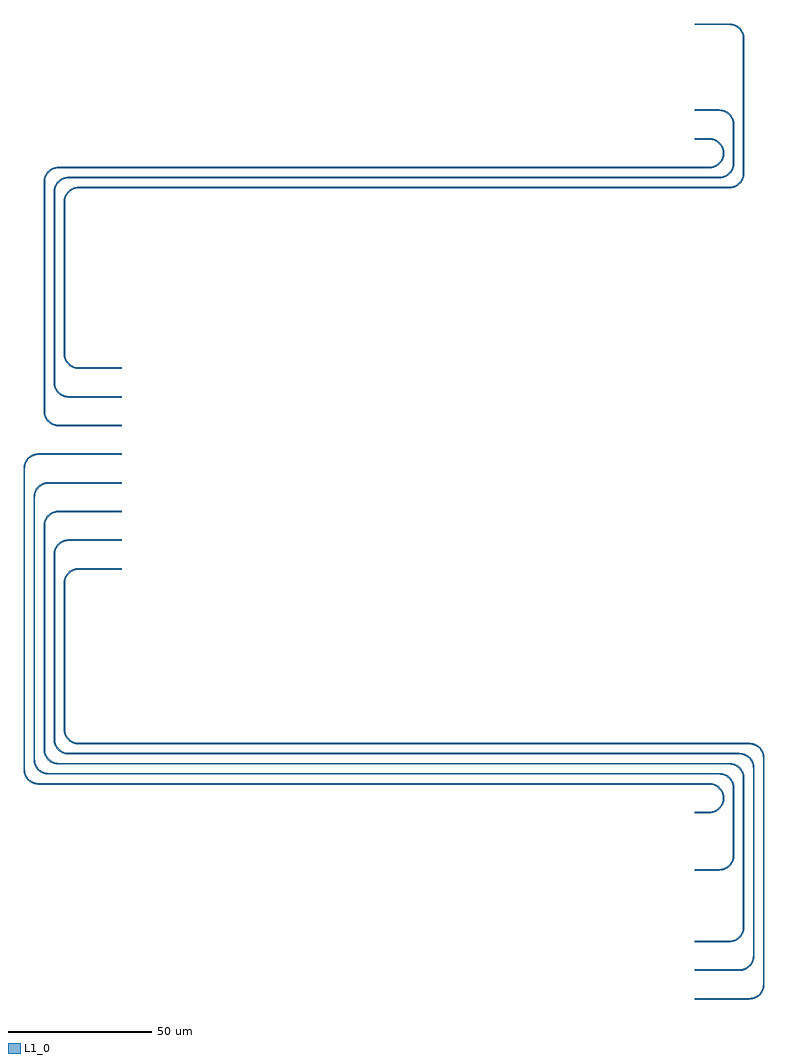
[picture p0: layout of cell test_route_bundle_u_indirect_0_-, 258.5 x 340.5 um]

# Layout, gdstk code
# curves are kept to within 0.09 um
from math import pi, radians
import gdstk
lib = gdstk.Library(unit=1e-6, precision=1e-09)
def R(c, l, rs):  # rectangles x0, y0, x1, y1
    for r in rs: c.add(gdstk.rectangle(r[:2], r[2:], *l))
def P(c, l, *ps):  # polygons
    for p in ps: c.add(gdstk.Polygon(p, *l))
L1_0 = (1, 0)

bend_circular_r5_a90_nn_ = lib.new_cell('bend_circular_R5_A90_NN_fe63dc3e')
P(bend_circular_r5_a90_nn_, L1_0, [(0,-0.25),(0,0.25),(0.988,0.354),(1.932,0.661),(2.587,1.016),(3.359,1.641),(3.984,2.413),(4.339,3.068),(4.646,4.012),(4.75,5),(5.25,5),(5.135,3.908),(4.796,2.865),(4.247,1.914),(3.712,1.288),(3.086,0.753),(2.135,0.204),(1.092,-0.135)])

straight_l19_n2_csstrip_ = lib.new_cell('straight_L19_N2_CSstrip_W0p5')
R(straight_l19_n2_csstrip_, L1_0, [(0,-0.25,19,0.25)])

straight_l79_n2_csstrip_ = lib.new_cell('straight_L79_N2_CSstrip_W0p5')
R(straight_l79_n2_csstrip_, L1_0, [(0,-0.25,79,0.25)])

straight_l234_n2_csstrip = lib.new_cell('straight_L234_N2_CSstrip_W0p5')
R(straight_l234_n2_csstrip, L1_0, [(0,-0.25,234,0.25)])

straight_l51_n2_csstrip_ = lib.new_cell('straight_L51_N2_CSstrip_W0p5')
R(straight_l51_n2_csstrip_, L1_0, [(0,-0.25,51,0.25)])

straight_l15_n2_csstrip_ = lib.new_cell('straight_L15_N2_CSstrip_W0p5')
R(straight_l15_n2_csstrip_, L1_0, [(0,-0.25,15,0.25)])

straight_l15p5_n2_csstri = lib.new_cell('straight_L15p5_N2_CSstrip_W0p5')
R(straight_l15p5_n2_csstri, L1_0, [(0,-0.25,15.5,0.25)])

straight_l65p5_n2_csstri = lib.new_cell('straight_L65p5_N2_CSstrip_W0p5')
R(straight_l65p5_n2_csstri, L1_0, [(0,-0.25,65.5,0.25)])

straight_l64p5_n2_csstri = lib.new_cell('straight_L64p5_N2_CSstrip_W0p5')
R(straight_l64p5_n2_csstri, L1_0, [(0,-0.25,64.5,0.25)])

straight_l18p5_n2_csstri = lib.new_cell('straight_L18p5_N2_CSstrip_W0p5')
R(straight_l18p5_n2_csstri, L1_0, [(0,-0.25,18.5,0.25)])

straight_l12_n2_csstrip_ = lib.new_cell('straight_L12_N2_CSstrip_W0p5')
R(straight_l12_n2_csstrip_, L1_0, [(0,-0.25,12,0.25)])

straight_l52_n2_csstrip_ = lib.new_cell('straight_L52_N2_CSstrip_W0p5')
R(straight_l52_n2_csstrip_, L1_0, [(0,-0.25,52,0.25)])

straight_l78_n2_csstrip_ = lib.new_cell('straight_L78_N2_CSstrip_W0p5')
R(straight_l78_n2_csstrip_, L1_0, [(0,-0.25,78,0.25)])

straight_l22_n2_csstrip_ = lib.new_cell('straight_L22_N2_CSstrip_W0p5')
R(straight_l22_n2_csstrip_, L1_0, [(0,-0.25,22,0.25)])

straight_l8p5_n2_csstrip = lib.new_cell('straight_L8p5_N2_CSstrip_W0p5')
R(straight_l8p5_n2_csstrip, L1_0, [(0,-0.25,8.5,0.25)])

straight_l23p5_n2_csstri = lib.new_cell('straight_L23p5_N2_CSstrip_W0p5')
R(straight_l23p5_n2_csstri, L1_0, [(0,-0.25,23.5,0.25)])

straight_l91p5_n2_csstri = lib.new_cell('straight_L91p5_N2_CSstrip_W0p5')
R(straight_l91p5_n2_csstri, L1_0, [(0,-0.25,91.5,0.25)])

straight_l25p5_n2_csstri = lib.new_cell('straight_L25p5_N2_CSstrip_W0p5')
R(straight_l25p5_n2_csstri, L1_0, [(0,-0.25,25.5,0.25)])

straight_l5_n2_csstrip_w = lib.new_cell('straight_L5_N2_CSstrip_W0p5')
R(straight_l5_n2_csstrip_w, L1_0, [(0,-0.25,5,0.25)])

straight_l105_n2_csstrip = lib.new_cell('straight_L105_N2_CSstrip_W0p5')
R(straight_l105_n2_csstrip, L1_0, [(0,-0.25,105,0.25)])

straight_l29_n2_csstrip_ = lib.new_cell('straight_L29_N2_CSstrip_W0p5')
R(straight_l29_n2_csstrip_, L1_0, [(0,-0.25,29,0.25)])

straight_l227_n2_csstrip = lib.new_cell('straight_L227_N2_CSstrip_W0p5')
R(straight_l227_n2_csstrip, L1_0, [(0,-0.25,227,0.25)])

straight_l80_n2_csstrip_ = lib.new_cell('straight_L80_N2_CSstrip_W0p5')
R(straight_l80_n2_csstrip_, L1_0, [(0,-0.25,80,0.25)])

straight_l13p5_n2_csstri = lib.new_cell('straight_L13p5_N2_CSstrip_W0p5')
R(straight_l13p5_n2_csstri, L1_0, [(0,-0.25,13.5,0.25)])

straight_l66p5_n2_csstri = lib.new_cell('straight_L66p5_N2_CSstrip_W0p5')
R(straight_l66p5_n2_csstri, L1_0, [(0,-0.25,66.5,0.25)])

straight_l47_n2_csstrip_ = lib.new_cell('straight_L47_N2_CSstrip_W0p5')
R(straight_l47_n2_csstrip_, L1_0, [(0,-0.25,47,0.25)])

straight_l53_n2_csstrip_ = lib.new_cell('straight_L53_N2_CSstrip_W0p5')
R(straight_l53_n2_csstrip_, L1_0, [(0,-0.25,53,0.25)])

test_route_bundle_u_indi = lib.new_cell('test_route_bundle_u_indirect_0_-')
test_route_bundle_u_indi.add(gdstk.Reference(bend_circular_r5_a90_nn_, (24,-95), rotation=3*pi/2, x_reflection=True))
test_route_bundle_u_indi.add(gdstk.Reference(straight_l19_n2_csstrip_, (19,-100), rotation=pi, x_reflection=True))
test_route_bundle_u_indi.add(gdstk.Reference(bend_circular_r5_a90_nn_, (19,-11), x_reflection=True))
test_route_bundle_u_indi.add(gdstk.Reference(straight_l79_n2_csstrip_, (24,-16), rotation=3*pi/2, x_reflection=True))
test_route_bundle_u_indi.add(gdstk.Reference(bend_circular_r5_a90_nn_, (-220,-6), rotation=3*pi/2))
test_route_bundle_u_indi.add(gdstk.Reference(straight_l234_n2_csstrip, (-215,-11)))
test_route_bundle_u_indi.add(gdstk.Reference(bend_circular_r5_a90_nn_, (-215,50), rotation=pi))
test_route_bundle_u_indi.add(gdstk.Reference(straight_l51_n2_csstrip_, (-220,45), rotation=3*pi/2))
test_route_bundle_u_indi.add(gdstk.Reference(straight_l15_n2_csstrip_, (-215,50)))
test_route_bundle_u_indi.add(gdstk.Reference(bend_circular_r5_a90_nn_, (20.5,-85), rotation=3*pi/2, x_reflection=True))
test_route_bundle_u_indi.add(gdstk.Reference(straight_l15p5_n2_csstri, (15.5,-90), rotation=pi, x_reflection=True))
test_route_bundle_u_indi.add(gdstk.Reference(bend_circular_r5_a90_nn_, (15.5,-14.5), x_reflection=True))
test_route_bundle_u_indi.add(gdstk.Reference(straight_l65p5_n2_csstri, (20.5,-19.5), rotation=3*pi/2, x_reflection=True))
test_route_bundle_u_indi.add(gdstk.Reference(bend_circular_r5_a90_nn_, (-223.5,-9.5), rotation=3*pi/2))
test_route_bundle_u_indi.add(gdstk.Reference(straight_l234_n2_csstrip, (-218.5,-14.5)))
test_route_bundle_u_indi.add(gdstk.Reference(bend_circular_r5_a90_nn_, (-218.5,60), rotation=pi))
test_route_bundle_u_indi.add(gdstk.Reference(straight_l64p5_n2_csstri, (-223.5,55), rotation=3*pi/2))
test_route_bundle_u_indi.add(gdstk.Reference(straight_l18p5_n2_csstri, (-218.5,60)))
test_route_bundle_u_indi.add(gdstk.Reference(bend_circular_r5_a90_nn_, (17,-75), rotation=3*pi/2, x_reflection=True))
test_route_bundle_u_indi.add(gdstk.Reference(straight_l12_n2_csstrip_, (12,-80), rotation=pi, x_reflection=True))
test_route_bundle_u_indi.add(gdstk.Reference(bend_circular_r5_a90_nn_, (12,-18), x_reflection=True))
test_route_bundle_u_indi.add(gdstk.Reference(straight_l52_n2_csstrip_, (17,-23), rotation=3*pi/2, x_reflection=True))
test_route_bundle_u_indi.add(gdstk.Reference(bend_circular_r5_a90_nn_, (-227,-13), rotation=3*pi/2))
test_route_bundle_u_indi.add(gdstk.Reference(straight_l234_n2_csstrip, (-222,-18)))
test_route_bundle_u_indi.add(gdstk.Reference(bend_circular_r5_a90_nn_, (-222,70), rotation=pi))
test_route_bundle_u_indi.add(gdstk.Reference(straight_l78_n2_csstrip_, (-227,65), rotation=3*pi/2))
test_route_bundle_u_indi.add(gdstk.Reference(straight_l22_n2_csstrip_, (-222,70)))
test_route_bundle_u_indi.add(gdstk.Reference(bend_circular_r5_a90_nn_, (13.5,-50), rotation=3*pi/2, x_reflection=True))
test_route_bundle_u_indi.add(gdstk.Reference(straight_l8p5_n2_csstrip, (8.5,-55), rotation=pi, x_reflection=True))
test_route_bundle_u_indi.add(gdstk.Reference(bend_circular_r5_a90_nn_, (8.5,-21.5), x_reflection=True))
test_route_bundle_u_indi.add(gdstk.Reference(straight_l23p5_n2_csstri, (13.5,-26.5), rotation=3*pi/2, x_reflection=True))
test_route_bundle_u_indi.add(gdstk.Reference(bend_circular_r5_a90_nn_, (-230.5,-16.5), rotation=3*pi/2))
test_route_bundle_u_indi.add(gdstk.Reference(straight_l234_n2_csstrip, (-225.5,-21.5)))
test_route_bundle_u_indi.add(gdstk.Reference(bend_circular_r5_a90_nn_, (-225.5,80), rotation=pi))
test_route_bundle_u_indi.add(gdstk.Reference(straight_l91p5_n2_csstri, (-230.5,75), rotation=3*pi/2))
test_route_bundle_u_indi.add(gdstk.Reference(straight_l25p5_n2_csstri, (-225.5,80)))
test_route_bundle_u_indi.add(gdstk.Reference(bend_circular_r5_a90_nn_, (10,-30), rotation=3*pi/2, x_reflection=True))
test_route_bundle_u_indi.add(gdstk.Reference(straight_l5_n2_csstrip_w, (5,-35), rotation=pi, x_reflection=True))
test_route_bundle_u_indi.add(gdstk.Reference(bend_circular_r5_a90_nn_, (5,-25), x_reflection=True))
test_route_bundle_u_indi.add(gdstk.Reference(bend_circular_r5_a90_nn_, (-234,-20), rotation=3*pi/2))
test_route_bundle_u_indi.add(gdstk.Reference(straight_l234_n2_csstrip, (-229,-25)))
test_route_bundle_u_indi.add(gdstk.Reference(bend_circular_r5_a90_nn_, (-229,90), rotation=pi))
test_route_bundle_u_indi.add(gdstk.Reference(straight_l105_n2_csstrip, (-234,85), rotation=3*pi/2))
test_route_bundle_u_indi.add(gdstk.Reference(straight_l29_n2_csstrip_, (-229,90)))
test_route_bundle_u_indi.add(gdstk.Reference(bend_circular_r5_a90_nn_, (10,195), rotation=pi/2))
test_route_bundle_u_indi.add(gdstk.Reference(straight_l5_n2_csstrip_w, (5,200), rotation=pi))
test_route_bundle_u_indi.add(gdstk.Reference(bend_circular_r5_a90_nn_, (5,190)))
test_route_bundle_u_indi.add(gdstk.Reference(bend_circular_r5_a90_nn_, (-227,185), rotation=pi/2, x_reflection=True))
test_route_bundle_u_indi.add(gdstk.Reference(straight_l227_n2_csstrip, (-222,190), x_reflection=True))
test_route_bundle_u_indi.add(gdstk.Reference(bend_circular_r5_a90_nn_, (-222,100), rotation=pi, x_reflection=True))
test_route_bundle_u_indi.add(gdstk.Reference(straight_l80_n2_csstrip_, (-227,105), rotation=pi/2, x_reflection=True))
test_route_bundle_u_indi.add(gdstk.Reference(straight_l22_n2_csstrip_, (-222,100), x_reflection=True))
test_route_bundle_u_indi.add(gdstk.Reference(bend_circular_r5_a90_nn_, (13.5,205), rotation=pi/2))
test_route_bundle_u_indi.add(gdstk.Reference(straight_l8p5_n2_csstrip, (8.5,210), rotation=pi))
test_route_bundle_u_indi.add(gdstk.Reference(bend_circular_r5_a90_nn_, (8.5,186.5)))
test_route_bundle_u_indi.add(gdstk.Reference(straight_l13p5_n2_csstri, (13.5,191.5), rotation=pi/2))
test_route_bundle_u_indi.add(gdstk.Reference(bend_circular_r5_a90_nn_, (-223.5,181.5), rotation=pi/2, x_reflection=True))
test_route_bundle_u_indi.add(gdstk.Reference(straight_l227_n2_csstrip, (-218.5,186.5), x_reflection=True))
test_route_bundle_u_indi.add(gdstk.Reference(bend_circular_r5_a90_nn_, (-218.5,110), rotation=pi, x_reflection=True))
test_route_bundle_u_indi.add(gdstk.Reference(straight_l66p5_n2_csstri, (-223.5,115), rotation=pi/2, x_reflection=True))
test_route_bundle_u_indi.add(gdstk.Reference(straight_l18p5_n2_csstri, (-218.5,110), x_reflection=True))
test_route_bundle_u_indi.add(gdstk.Reference(bend_circular_r5_a90_nn_, (17,235), rotation=pi/2))
test_route_bundle_u_indi.add(gdstk.Reference(straight_l12_n2_csstrip_, (12,240), rotation=pi))
test_route_bundle_u_indi.add(gdstk.Reference(bend_circular_r5_a90_nn_, (12,183)))
test_route_bundle_u_indi.add(gdstk.Reference(straight_l47_n2_csstrip_, (17,188), rotation=pi/2))
test_route_bundle_u_indi.add(gdstk.Reference(bend_circular_r5_a90_nn_, (-220,178), rotation=pi/2, x_reflection=True))
test_route_bundle_u_indi.add(gdstk.Reference(straight_l227_n2_csstrip, (-215,183), x_reflection=True))
test_route_bundle_u_indi.add(gdstk.Reference(bend_circular_r5_a90_nn_, (-215,120), rotation=pi, x_reflection=True))
test_route_bundle_u_indi.add(gdstk.Reference(straight_l53_n2_csstrip_, (-220,125), rotation=pi/2, x_reflection=True))
test_route_bundle_u_indi.add(gdstk.Reference(straight_l15_n2_csstrip_, (-215,120), x_reflection=True))

lib.write_gds('test_route_bundle_u_indirect_0_-.gds')
